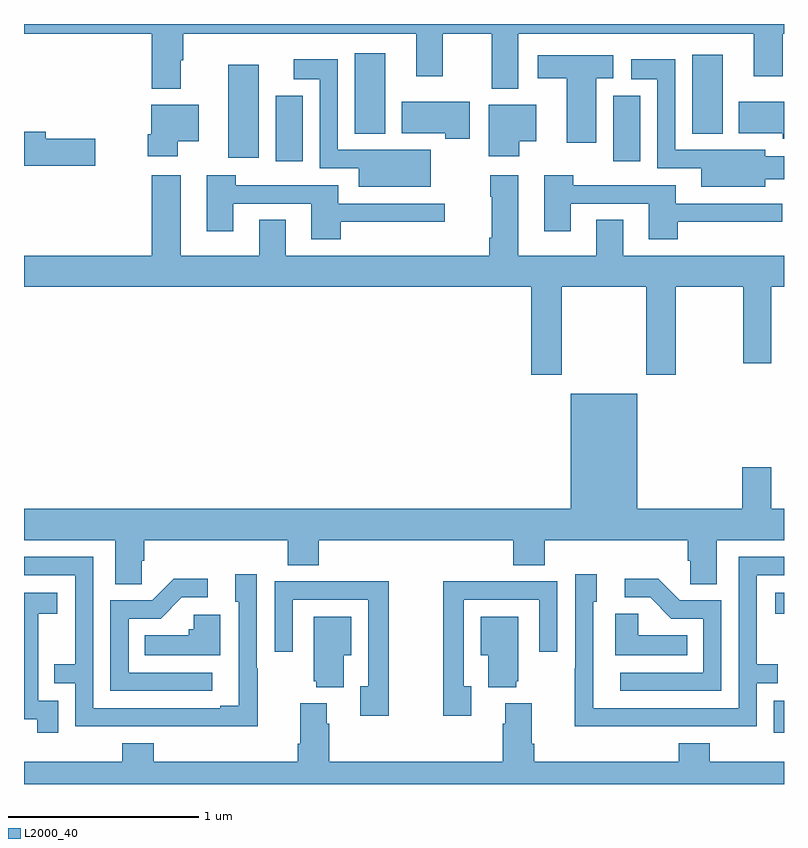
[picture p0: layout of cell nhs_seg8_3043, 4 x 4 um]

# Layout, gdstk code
import gdstk
lib = gdstk.Library(unit=1e-6, precision=1e-09)
def R(c, l, rs):  # rectangles x0, y0, x1, y1
    for r in rs: c.add(gdstk.rectangle(r[:2], r[2:], *l))
def P(c, l, *ps):  # polygons
    for p in ps: c.add(gdstk.Polygon(p, *l))
L2000_40 = (2000, 40)

nhs_seg8_3043 = lib.new_cell('nhs_seg8_3043')
R(nhs_seg8_3043, L2000_40, [(304.947,1098.171,305,1098.339), (304.953,1098.797,305,1098.907), (302.324,1101.177,302.467,1101.523), (304.1,1101.177,304.243,1101.523), (302.075,1101.195,302.236,1101.685), (302.741,1101.323,302.902,1101.745), (304.517,1101.323,304.678,1101.739)])
P(nhs_seg8_3043, L2000_40, [(301.825,1101.71),(301.838,1101.71),(301.838,1101.848),(303.065,1101.848),(303.065,1101.624),(303.205,1101.624),(303.205,1101.848),(303.461,1101.848),(303.461,1101.56),(303.601,1101.56),(303.601,1101.848),(304.841,1101.848),(304.841,1101.624),(304.994,1101.624),(304.994,1101.848),(305,1101.848),(305,1101.9),(301,1101.9),(301,1101.848),(301.673,1101.848),(301.673,1101.56),(301.825,1101.56)],
  [(304.012,1101.614),(304.102,1101.614),(304.102,1101.736),(303.705,1101.736),(303.705,1101.614),(303.857,1101.614),(303.857,1101.276),(304.012,1101.276)],
  [(303.142,1101.238),(302.898,1101.238),(302.898,1101.237),(302.652,1101.237),(302.652,1101.715),(302.421,1101.715),(302.421,1101.608),(302.556,1101.608),(302.556,1101.141),(302.762,1101.141),(302.762,1101.044),(303.142,1101.044)],
  [(304.9,1101.083),(305,1101.083),(305,1101.205),(304.9,1101.205),(304.9,1101.238),(304.674,1101.238),(304.674,1101.237),(304.428,1101.237),(304.428,1101.715),(304.197,1101.715),(304.197,1101.608),(304.332,1101.608),(304.332,1101.141),(304.565,1101.141),(304.565,1101.044),(304.9,1101.044)],
  [(303.346,1101.49),(302.987,1101.49),(302.987,1101.326),(303.217,1101.326),(303.217,1101.296),(303.346,1101.296)],
  [(305,1101.49),(304.763,1101.49),(304.763,1101.326),(304.993,1101.326),(304.993,1101.296),(305,1101.296)],
  [(301.81,1101.284),(301.921,1101.284),(301.921,1101.475),(301.67,1101.475),(301.67,1101.321),(301.652,1101.321),(301.652,1101.203),(301.81,1101.203)],
  [(303.607,1101.284),(303.697,1101.284),(303.697,1101.475),(303.446,1101.475),(303.446,1101.203),(303.607,1101.203)],
  [(301.375,1101.296),(301.114,1101.296),(301.114,1101.332),(301,1101.332),(301,1101.154),(301.375,1101.154)],
  [(304.442,1100.858),(304.99,1100.858),(304.99,1100.955),(304.429,1100.955),(304.429,1101.051),(303.89,1101.051),(303.89,1101.103),(303.737,1101.103),(303.737,1100.808),(303.877,1100.808),(303.877,1100.955),(304.289,1100.955),(304.289,1100.766),(304.442,1100.766)],
  [(302.666,1100.858),(303.214,1100.858),(303.214,1100.955),(302.653,1100.955),(302.653,1101.051),(302.114,1101.051),(302.114,1101.103),(301.961,1101.103),(301.961,1100.808),(302.101,1100.808),(302.101,1100.955),(302.513,1100.955),(302.513,1100.766),(302.666,1100.766)],
  [(303.831,1100.516),(304.276,1100.516),(304.276,1100.055),(304.431,1100.055),(304.431,1100.516),(304.786,1100.516),(304.786,1100.115),(304.933,1100.115),(304.933,1100.516),(305,1100.516),(305,1100.68),(304.153,1100.68),(304.153,1100.87),(304.013,1100.87),(304.013,1100.68),(303.601,1100.68),(303.601,1101.103),(303.454,1101.103),(303.454,1100.99),(303.461,1100.99),(303.461,1100.776),(303.449,1100.776),(303.449,1100.68),(302.377,1100.68),(302.377,1100.87),(302.237,1100.87),(302.237,1100.68),(301.825,1100.68),(301.825,1101.103),(301.673,1101.103),(301.673,1100.68),(301,1100.68),(301,1100.516),(303.671,1100.516),(303.671,1100.055),(303.831,1100.055)],
  [(301.62,1099.075),(301.634,1099.075),(301.634,1099.184),(302.387,1099.184),(302.387,1099.051),(302.552,1099.051),(302.552,1099.184),(303.575,1099.184),(303.575,1099.051),(303.74,1099.051),(303.74,1099.184),(304.493,1099.184),(304.493,1099.075),(304.506,1099.075),(304.506,1098.952),(304.645,1098.952),(304.645,1099.184),(305,1099.184),(305,1099.348),(304.933,1099.348),(304.933,1099.567),(304.781,1099.567),(304.781,1099.348),(304.228,1099.348),(304.228,1099.954),(303.878,1099.954),(303.878,1099.348),(301,1099.348),(301,1099.184),(301.481,1099.184),(301.481,1098.952),(301.62,1098.952)],
  [(302.229,1098.509),(302.226,1098.509),(302.226,1099.003),(302.111,1099.003),(302.111,1098.858),(302.13,1098.858),(302.13,1098.313),(302.033,1098.313),(302.033,1098.3),(301.365,1098.3),(301.365,1099.095),(301,1099.095),(301,1098.999),(301.269,1098.999),(301.269,1098.53),(301.159,1098.53),(301.159,1098.429),(301.269,1098.429),(301.269,1098.204),(301.765,1098.204),(301.765,1098.203),(302.229,1098.203)],
  [(304.361,1098.204),(304.857,1098.204),(304.857,1098.429),(304.967,1098.429),(304.967,1098.53),(304.857,1098.53),(304.857,1098.999),(305,1098.999),(305,1099.095),(304.761,1099.095),(304.761,1098.3),(303.996,1098.3),(303.996,1098.858),(304.015,1098.858),(304.015,1099.003),(303.9,1099.003),(303.9,1098.509),(303.898,1098.509),(303.898,1098.203),(304.361,1098.203)],
  [(301.99,1098.486),(301.551,1098.486),(301.551,1098.771),(301.72,1098.771),(301.831,1098.882),(301.966,1098.882),(301.966,1098.98),(301.787,1098.98),(301.674,1098.867),(301.455,1098.867),(301.455,1098.39),(301.99,1098.39)],
  [(304.671,1098.867),(304.452,1098.867),(304.339,1098.98),(304.161,1098.98),(304.161,1098.882),(304.295,1098.882),(304.406,1098.771),(304.575,1098.771),(304.575,1098.486),(304.137,1098.486),(304.137,1098.39),(304.671,1098.39)],
  [(303.355,1098.414),(303.315,1098.414),(303.315,1098.87),(303.711,1098.87),(303.711,1098.597),(303.807,1098.597),(303.807,1098.966),(303.491,1098.966),(303.491,1098.968),(303.207,1098.968),(303.207,1098.258),(303.355,1098.258)],
  [(302.92,1098.968),(302.635,1098.968),(302.635,1098.966),(302.319,1098.966),(302.319,1098.597),(302.415,1098.597),(302.415,1098.87),(302.811,1098.87),(302.811,1098.414),(302.771,1098.414),(302.771,1098.258),(302.92,1098.258)],
  [(301.179,1098.339),(301.074,1098.339),(301.074,1098.569),(301.076,1098.569),(301.076,1098.797),(301.174,1098.797),(301.174,1098.907),(301,1098.907),(301,1098.241),(301.071,1098.241),(301.071,1098.171),(301.179,1098.171)],
  [(304.49,1098.682),(304.233,1098.682),(304.233,1098.797),(304.112,1098.797),(304.112,1098.578),(304.49,1098.578)],
  [(302.032,1098.79),(301.893,1098.79),(301.893,1098.714),(301.867,1098.714),(301.867,1098.682),(301.636,1098.682),(301.636,1098.578),(302.032,1098.578)],
  [(302.683,1098.578),(302.722,1098.578),(302.722,1098.781),(302.525,1098.781),(302.525,1098.441),(302.537,1098.441),(302.537,1098.41),(302.683,1098.41)],
  [(303.59,1098.441),(303.601,1098.441),(303.601,1098.781),(303.404,1098.781),(303.404,1098.578),(303.443,1098.578),(303.443,1098.41),(303.59,1098.41)],
  [(302.453,1098.325),(302.453,1098.112),(302.441,1098.112),(302.441,1098.016),(301.682,1098.016),(301.682,1098.115),(301.517,1098.115),(301.517,1098.016),(301,1098.016),(301,1097.9),(305,1097.9),(305,1098.016),(304.61,1098.016),(304.61,1098.115),(304.445,1098.115),(304.445,1098.016),(303.686,1098.016),(303.686,1098.112),(303.673,1098.112),(303.673,1098.325),(303.533,1098.325),(303.533,1098.218),(303.521,1098.218),(303.521,1098.016),(302.606,1098.016),(302.606,1098.218),(302.593,1098.218),(302.593,1098.325)])

lib.write_gds('nhs_seg8_3043.gds')
